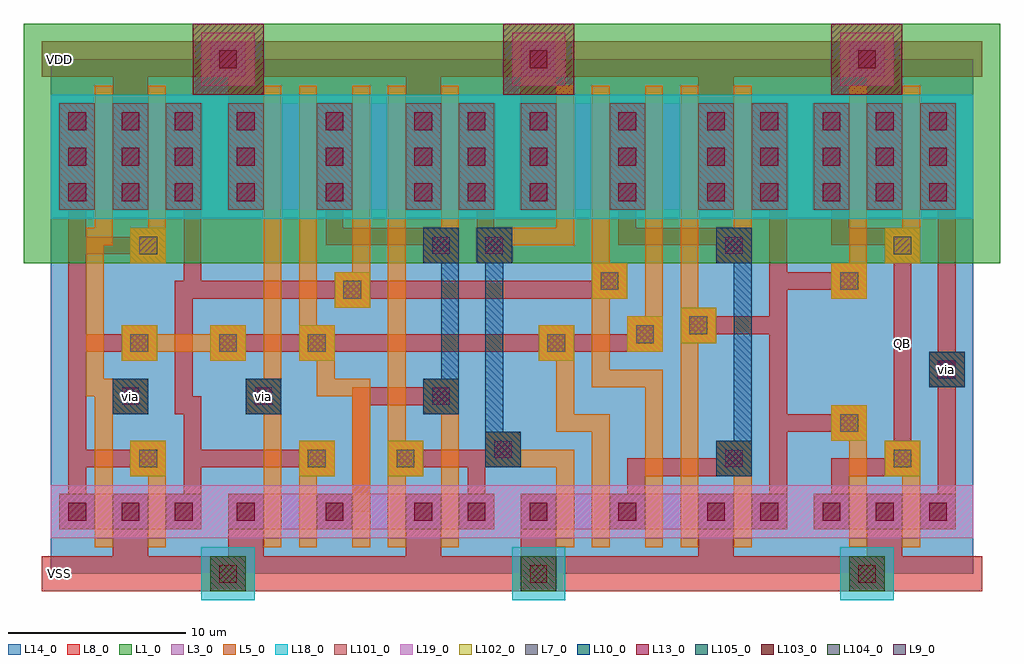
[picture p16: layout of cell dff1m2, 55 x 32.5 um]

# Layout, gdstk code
import gdstk
lib = gdstk.Library(unit=1e-6, precision=1e-09)
def R(c, l, rs):  # rectangles x0, y0, x1, y1
    for r in rs: c.add(gdstk.rectangle(r[:2], r[2:], *l))
L1_0 = (1, 0)
L3_0 = (3, 0)
L5_0 = (5, 0)
L7_0 = (7, 0)
L8_0 = (8, 0)
L9_0 = (9, 0)
L10_0 = (10, 0)
L13_0 = (13, 0)
L14_0 = (14, 0)
L18_0 = (18, 0)
L19_0 = (19, 0)
L101_0 = (101, 0)
L102_0 = (102, 0)
L103_0 = (103, 0)
L104_0 = (104, 0)
L105_0 = (105, 0)

pcont = lib.new_cell('pcont')
R(pcont, L5_0, [(-1,-1,1,1)])
R(pcont, L7_0, [(-0.5,-0.5,0.5,0.5)])
R(pcont, L8_0, [(-1,-1,1,1)])
R(pcont, L102_0, [(-1,-1,1,1)])
pcont.add(gdstk.Label('pcont', (0,0), layer=13, texttype=0))

dcont = lib.new_cell('dcont')
R(dcont, L3_0, [(-1,-1,1,1)])
R(dcont, L7_0, [(-0.5,-0.5,0.5,0.5)])
R(dcont, L8_0, [(-1,-1,1,1)])
R(dcont, L13_0, [(-0.5,-0.5,0.5,0.5)])
R(dcont, L101_0, [(-1,-1,1,1)])
dcont.add(gdstk.Label('dcont', (0,0), layer=13, texttype=0))

via = lib.new_cell('Via')
R(via, L8_0, [(-1,-1,1,1)])
R(via, L9_0, [(-0.5,-0.5,0.5,0.5)])
R(via, L10_0, [(-1,-1,1,1)])
R(via, L13_0, [(-0.5,-0.5,0.5,0.5)])
R(via, L105_0, [(-1,-1,1,1)])
via.add(gdstk.Label('via', (0,0), layer=13, texttype=0))

nsubcont = lib.new_cell('nsubcont')
R(nsubcont, L1_0, [(-2,-2,2,2)])
R(nsubcont, L19_0, [(-1.5,-1.5,1.5,1.5)])
R(nsubcont, L103_0, [(-2,-2,2,2)])
nsubcont.add(gdstk.Reference(dcont, (0,0)))
nsubcont.add(gdstk.Label('NScont', (0,0), layer=13, texttype=0))

psubcont = lib.new_cell('psubcont')
R(psubcont, L18_0, [(-1.5,-1.5,1.5,1.5)])
R(psubcont, L104_0, [(-1,-1,1,1)])
psubcont.add(gdstk.Reference(dcont, (0,0)))
psubcont.add(gdstk.Label('PScon', (0,0), layer=13, texttype=0))

dff1m2 = lib.new_cell('dff1m2')
R(dff1m2, L1_0, [(-1.5,17.5,53.5,31)])
R(dff1m2, L3_0, [(0.5,2.5,8.5,4.5), (10,2.5,25,4.5), (26.5,2.5,41.5,4.5), (43,2.5,51,4.5), (0.5,20.5,8.5,26.5), (10,20.5,25,26.5), (26.5,20.5,41.5,26.5), (43,20.5,51,26.5)])
R(dff1m2, L8_0, [(-0.5,-1,52.5,1), (3.5,9,5.5,11), (11,9,13,11), (49.5,10.5,51.5,12.5), (-0.5,28,52.5,30)])
R(dff1m2, L10_0, [(3.5,9,5.5,11), (11,9,13,11), (49.5,10.5,51.5,12.5)])
R(dff1m2, L14_0, [(0,0,52,29)])
R(dff1m2, L18_0, [(0,20,52,27)])
R(dff1m2, L19_0, [(0,2,52,5)])
R(dff1m2, L105_0, [(3.5,9,5.5,11), (11,9,13,11), (49.5,10.5,51.5,12.5)])
dff1m2.add(gdstk.FlexPath([(50.5,3.3),(50.5,26)], 1, ends="extended", simple_path=True, layer=8, datatype=0))  # L8_0
dff1m2.add(gdstk.FlexPath([(50,22.3),(50,25.5)], 1.4, ends="extended", simple_path=True, layer=8, datatype=0))  # L8_0
dff1m2.add(gdstk.FlexPath([(47,22.6),(47,28.5)], 2, ends="extended", simple_path=True, layer=8, datatype=0))  # L8_0
dff1m2.add(gdstk.FlexPath([(47,1),(47,3.4)], 2, ends="extended", simple_path=True, layer=8, datatype=0))  # L8_0
dff1m2.add(gdstk.FlexPath([(44.5,26),(44.5,19),(48,19),(48,6),(44.5,6),(44.5,3.6)], 1, ends="extended", simple_path=True, layer=8, datatype=0))  # L8_0
dff1m2.add(gdstk.FlexPath([(44,22.3),(44,25.5)], 1.4, ends="extended", simple_path=True, layer=8, datatype=0))  # L8_0
dff1m2.add(gdstk.FlexPath([(45.3,8.5),(41,8.5)], 1, ends="extended", simple_path=True, layer=8, datatype=0))  # L8_0
dff1m2.add(gdstk.FlexPath([(45.3,16.5),(41,16.5)], 1, ends="extended", simple_path=True, layer=8, datatype=0))  # L8_0
dff1m2.add(gdstk.FlexPath([(41,21.5),(41,3.8)], 1, ends="extended", simple_path=True, layer=8, datatype=0))  # L8_0
dff1m2.add(gdstk.FlexPath([(36.8,14),(41,14)], 1, ends="extended", simple_path=True, layer=8, datatype=0))  # L8_0
dff1m2.add(gdstk.FlexPath([(37.5,1),(37.5,3.5)], 2, ends="extended", simple_path=True, layer=8, datatype=0))  # L8_0
dff1m2.add(gdstk.FlexPath([(37.5,22.6),(37.5,28.5)], 2, ends="extended", simple_path=True, layer=8, datatype=0))  # L8_0
dff1m2.add(gdstk.FlexPath([(33,3.8),(33,6),(38.5,6)], 1, ends="extended", simple_path=True, layer=8, datatype=0))  # L8_0
dff1m2.add(gdstk.FlexPath([(32.5,22.3),(32.5,19),(38.7,19)], 1, ends="extended", simple_path=True, layer=8, datatype=0))  # L8_0
dff1m2.add(gdstk.FlexPath([(32.5,22.3),(32.5,25.5)], 1.4, ends="extended", simple_path=True, layer=8, datatype=0))  # L8_0
dff1m2.add(gdstk.FlexPath([(27.5,1),(27.5,3.5)], 2, ends="extended", simple_path=True, layer=8, datatype=0))  # L8_0
dff1m2.add(gdstk.FlexPath([(27.5,22),(27.5,28.5)], 2, ends="extended", simple_path=True, layer=8, datatype=0))  # L8_0
dff1m2.add(gdstk.FlexPath([(24,21.5),(24.5,21.5),(24.5,18.4)], 1, ends="extended", simple_path=True, layer=8, datatype=0))  # L8_0
dff1m2.add(gdstk.FlexPath([(24,22.3),(24,25.5)], 1.4, ends="extended", simple_path=True, layer=8, datatype=0))  # L8_0
dff1m2.add(gdstk.FlexPath([(34,13),(10.3,13)], 1, ends="extended", simple_path=True, layer=8, datatype=0))  # L8_0
dff1m2.add(gdstk.FlexPath([(19.9,6.5),(24,6.5),(24,3.5)], 1, ends="extended", simple_path=True, layer=8, datatype=0))  # L8_0
dff1m2.add(gdstk.FlexPath([(21,1),(21,3.5)], 2, ends="extended", simple_path=True, layer=8, datatype=0))  # L8_0
dff1m2.add(gdstk.FlexPath([(21,22.6),(21,28.5)], 2, ends="extended", simple_path=True, layer=8, datatype=0))  # L8_0
dff1m2.add(gdstk.FlexPath([(8.05,16),(31.8,16)], 1, ends="extended", simple_path=True, layer=8, datatype=0))  # L8_0
dff1m2.add(gdstk.FlexPath([(16,3.5),(16,4),(17.5,4),(17.5,10),(22.4,10)], 1, ends="extended", simple_path=True, layer=8, datatype=0))  # L8_0
dff1m2.add(gdstk.FlexPath([(16,22.3),(16,19),(22,19)], 1, ends="extended", simple_path=True, layer=8, datatype=0))  # L8_0
dff1m2.add(gdstk.FlexPath([(16,22.3),(16,25.5)], 1.4, ends="extended", simple_path=True, layer=8, datatype=0))  # L8_0
dff1m2.add(gdstk.FlexPath([(14.8,6.5),(8,6.5)], 1, ends="extended", simple_path=True, layer=8, datatype=0))  # L8_0
dff1m2.add(gdstk.FlexPath([(11,22.6),(11,28.5)], 2, ends="extended", simple_path=True, layer=8, datatype=0))  # L8_0
dff1m2.add(gdstk.FlexPath([(11,1),(11,3.5)], 2, ends="extended", simple_path=True, layer=8, datatype=0))  # L8_0
dff1m2.add(gdstk.FlexPath([(8,3.6),(8,9.5),(7.5,9.5),(7.5,16),(8,16),(8,26)], 1, ends="extended", simple_path=True, layer=8, datatype=0))  # L8_0
dff1m2.add(gdstk.FlexPath([(4.5,1),(4.5,3.5)], 2, ends="extended", simple_path=True, layer=8, datatype=0))  # L8_0
dff1m2.add(gdstk.FlexPath([(4.5,22.6),(4.5,28.5)], 2, ends="extended", simple_path=True, layer=8, datatype=0))  # L8_0
dff1m2.add(gdstk.FlexPath([(5.9,6.5),(1.8,6.5)], 1, ends="extended", simple_path=True, layer=8, datatype=0))  # L8_0
dff1m2.add(gdstk.FlexPath([(5.6,18.5),(1.5,18.5)], 1, ends="extended", simple_path=True, layer=8, datatype=0))  # L8_0
dff1m2.add(gdstk.FlexPath([(5,13),(1.8,13)], 1, ends="extended", simple_path=True, layer=8, datatype=0))  # L8_0
dff1m2.add(gdstk.FlexPath([(1.5,22.3),(1.5,25.5)], 1.4, ends="extended", simple_path=True, layer=8, datatype=0))  # L8_0
dff1m2.add(gdstk.FlexPath([(1.5,26),(1.5,3.6)], 1, ends="extended", simple_path=True, layer=8, datatype=0))  # L8_0
dff1m2.add(gdstk.FlexPath([(3,27),(3,19),(2.5,19),(2.5,10.5),(3,10.5),(3,2)], 1, ends="extended", simple_path=True, layer=5, datatype=0))  # L5_0
dff1m2.add(gdstk.FlexPath([(6,2),(6,7)], 1, ends="extended", simple_path=True, layer=5, datatype=0))  # L5_0
dff1m2.add(gdstk.FlexPath([(6,18.3),(6,27)], 1, ends="extended", simple_path=True, layer=5, datatype=0))  # L5_0
dff1m2.add(gdstk.FlexPath([(10.3,13),(5,13)], 1, ends="extended", simple_path=True, layer=5, datatype=0))  # L5_0
dff1m2.add(gdstk.FlexPath([(12.5,27),(12.5,2)], 1, ends="extended", simple_path=True, layer=5, datatype=0))  # L5_0
dff1m2.add(gdstk.FlexPath([(14.5,2),(14.5,6.8)], 1, ends="extended", simple_path=True, layer=5, datatype=0))  # L5_0
dff1m2.add(gdstk.FlexPath([(17.5,2),(17.5,10.5),(15.5,10.5),(15.5,13.1),(14.5,13.1),(14.5,27)], 1, ends="extended", simple_path=True, layer=5, datatype=0))  # L5_0
dff1m2.add(gdstk.FlexPath([(17.5,15.8),(17.5,27)], 1, ends="extended", simple_path=True, layer=5, datatype=0))  # L5_0
dff1m2.add(gdstk.FlexPath([(19.5,27),(19.5,2)], 1, ends="extended", simple_path=True, layer=5, datatype=0))  # L5_0
dff1m2.add(gdstk.FlexPath([(22.5,2),(22.5,10)], 1, ends="extended", simple_path=True, layer=5, datatype=0))  # L5_0
dff1m2.add(gdstk.FlexPath([(22.5,18.4),(22.5,27)], 1, ends="extended", simple_path=True, layer=5, datatype=0))  # L5_0
dff1m2.add(gdstk.FlexPath([(25,19),(29,19),(29,27)], 1, ends="extended", simple_path=True, layer=5, datatype=0))  # L5_0
dff1m2.add(gdstk.FlexPath([(29,2),(29,6.5),(25.3,6.5)], 1, ends="extended", simple_path=True, layer=5, datatype=0))  # L5_0
dff1m2.add(gdstk.FlexPath([(31,2),(31,8.5),(29,8.5),(29,13)], 1, ends="extended", simple_path=True, layer=5, datatype=0))  # L5_0
dff1m2.add(gdstk.FlexPath([(34,2),(34,11),(31,11),(31,27)], 1, ends="extended", simple_path=True, layer=5, datatype=0))  # L5_0
dff1m2.add(gdstk.FlexPath([(34,27),(34,13.7)], 1, ends="extended", simple_path=True, layer=5, datatype=0))  # L5_0
dff1m2.add(gdstk.FlexPath([(36,2),(36,27)], 1, ends="extended", simple_path=True, layer=5, datatype=0))  # L5_0
dff1m2.add(gdstk.FlexPath([(39,27),(39,18.4)], 1, ends="extended", simple_path=True, layer=5, datatype=0))  # L5_0
dff1m2.add(gdstk.FlexPath([(39,6.8),(39,2)], 1, ends="extended", simple_path=True, layer=5, datatype=0))  # L5_0
dff1m2.add(gdstk.FlexPath([(45.5,2),(45.5,8.9)], 1, ends="extended", simple_path=True, layer=5, datatype=0))  # L5_0
dff1m2.add(gdstk.FlexPath([(45.5,16.5),(45.5,27)], 1, ends="extended", simple_path=True, layer=5, datatype=0))  # L5_0
dff1m2.add(gdstk.FlexPath([(48.5,2),(48.5,6.7)], 1, ends="extended", simple_path=True, layer=5, datatype=0))  # L5_0
dff1m2.add(gdstk.FlexPath([(48.5,18.1),(48.5,27)], 1, ends="extended", simple_path=True, layer=5, datatype=0))  # L5_0
dff1m2.add(gdstk.FlexPath([(22.5,18.7),(22.5,10)], 1, ends="extended", simple_path=True, layer=10, datatype=0))  # L10_0
dff1m2.add(gdstk.FlexPath([(25,18.7),(25,6.8)], 1, ends="extended", simple_path=True, layer=10, datatype=0))  # L10_0
dff1m2.add(gdstk.FlexPath([(39,18.7),(39,6.5)], 1, ends="extended", simple_path=True, layer=10, datatype=0))  # L10_0
dff1m2.add(gdstk.Reference(pcont, (28.5,13)))
dff1m2.add(gdstk.Reference(dcont, (1.5,25.5)))
dff1m2.add(gdstk.Reference(dcont, (27.5,21.5)))
dff1m2.add(gdstk.Reference(dcont, (27.5,23.5)))
dff1m2.add(gdstk.Reference(dcont, (11,23.5)))
dff1m2.add(gdstk.Reference(dcont, (44,25.5)))
dff1m2.add(gdstk.Reference(pcont, (25,18.5)))
dff1m2.add(gdstk.Reference(dcont, (21,3.5)))
dff1m2.add(gdstk.Reference(dcont, (37.5,21.5)))
dff1m2.add(gdstk.Reference(dcont, (1.5,21.5)))
dff1m2.add(gdstk.Reference(via, (38.5,18.5)))
dff1m2.add(gdstk.Reference(dcont, (32.5,21.5)))
dff1m2.add(gdstk.Reference(nsubcont, (10,29)))
dff1m2.add(gdstk.Reference(dcont, (24,21.5)))
dff1m2.add(gdstk.Reference(pcont, (22,10)))
dff1m2.add(gdstk.Reference(via, (25.5,7)))
dff1m2.add(gdstk.Reference(pcont, (48,6.5)))
dff1m2.add(gdstk.Reference(pcont, (15,13)))
dff1m2.add(gdstk.Reference(via, (25,18.5)))
dff1m2.add(gdstk.Reference(via, (4.5,10)))
dff1m2.add(gdstk.Reference(pcont, (38.5,18.5)))
dff1m2.add(gdstk.Reference(pcont, (33.5,13.5)))
dff1m2.add(gdstk.Reference(dcont, (11,25.5)))
dff1m2.add(gdstk.Reference(psubcont, (27.5,0)))
dff1m2.add(gdstk.Reference(pcont, (48,18.5)))
dff1m2.add(gdstk.Reference(via, (12,10)))
dff1m2.add(gdstk.Reference(dcont, (37.5,25.5)))
dff1m2.add(gdstk.Reference(pcont, (36.5,14)))
dff1m2.add(gdstk.Reference(dcont, (32.5,23.5)))
dff1m2.add(gdstk.Reference(dcont, (4.5,21.5)))
dff1m2.add(gdstk.Reference(dcont, (21,23.5)))
dff1m2.add(gdstk.Reference(nsubcont, (27.5,29)))
dff1m2.add(gdstk.Reference(dcont, (24,23.5)))
dff1m2.add(gdstk.Reference(dcont, (44,3.5)))
dff1m2.add(gdstk.Reference(nsubcont, (46,29)))
dff1m2.add(gdstk.Reference(dcont, (4.5,23.5)))
dff1m2.add(gdstk.Reference(dcont, (21,21.5)))
dff1m2.add(gdstk.Reference(dcont, (11,3.5)))
dff1m2.add(gdstk.Reference(dcont, (47,25.5)))
dff1m2.add(gdstk.Reference(dcont, (27.5,25.5)))
dff1m2.add(gdstk.Reference(dcont, (50,25.5)))
dff1m2.add(gdstk.Reference(via, (22,10)))
dff1m2.add(gdstk.Reference(via, (38.5,6.5)))
dff1m2.add(gdstk.Reference(dcont, (7.5,21.5)))
dff1m2.add(gdstk.Reference(psubcont, (10,0)))
dff1m2.add(gdstk.Reference(dcont, (44,23.5)))
dff1m2.add(gdstk.Reference(dcont, (40.5,3.5)))
dff1m2.add(gdstk.Reference(pcont, (22,18.5)))
dff1m2.add(gdstk.Reference(dcont, (7.5,25.5)))
dff1m2.add(gdstk.Reference(pcont, (17,16)))
dff1m2.add(gdstk.Reference(pcont, (4.5,10)))
dff1m2.add(gdstk.Reference(pcont, (31.5,16.5)))
dff1m2.add(gdstk.Reference(pcont, (5,13)))
dff1m2.add(gdstk.Reference(pcont, (38.5,6.5)))
dff1m2.add(gdstk.Reference(dcont, (11,21.5)))
dff1m2.add(gdstk.Reference(pcont, (5.5,6.5)))
dff1m2.add(gdstk.Reference(dcont, (40.5,25.5)))
dff1m2.add(gdstk.Reference(dcont, (16,25.5)))
dff1m2.add(gdstk.Reference(dcont, (4.5,25.5)))
dff1m2.add(gdstk.Reference(via, (50.5,11.5)))
dff1m2.add(gdstk.Reference(dcont, (32.5,3.5)))
dff1m2.add(gdstk.Reference(pcont, (20,6.5)))
dff1m2.add(gdstk.Reference(dcont, (50,3.5)))
dff1m2.add(gdstk.Reference(dcont, (32.5,25.5)))
dff1m2.add(gdstk.Reference(dcont, (47,3.5)))
dff1m2.add(gdstk.Reference(dcont, (50,21.5)))
dff1m2.add(gdstk.Reference(dcont, (27.5,3.5)))
dff1m2.add(gdstk.Reference(dcont, (37.5,23.5)))
dff1m2.add(gdstk.Reference(dcont, (50,23.5)))
dff1m2.add(gdstk.Reference(pcont, (25.5,7)))
dff1m2.add(gdstk.Reference(pcont, (5.5,18.5)))
dff1m2.add(gdstk.Reference(pcont, (15,6.5)))
dff1m2.add(gdstk.Reference(dcont, (7.5,23.5)))
dff1m2.add(gdstk.Reference(psubcont, (46,0)))
dff1m2.add(gdstk.Reference(dcont, (47,23.5)))
dff1m2.add(gdstk.Reference(via, (22,18.5)))
dff1m2.add(gdstk.Reference(dcont, (16,23.5)))
dff1m2.add(gdstk.Reference(dcont, (44,21.5)))
dff1m2.add(gdstk.Reference(dcont, (4.5,3.5)))
dff1m2.add(gdstk.Reference(pcont, (10,13)))
dff1m2.add(gdstk.Reference(dcont, (1.5,3.5)))
dff1m2.add(gdstk.Reference(dcont, (24,25.5)))
dff1m2.add(gdstk.Reference(pcont, (45,8.5)))
dff1m2.add(gdstk.Reference(dcont, (7.5,3.5)))
dff1m2.add(gdstk.Reference(dcont, (16,3.5)))
dff1m2.add(gdstk.Reference(dcont, (16,21.5)))
dff1m2.add(gdstk.Reference(dcont, (37.5,3.5)))
dff1m2.add(gdstk.Reference(dcont, (47,21.5)))
dff1m2.add(gdstk.Reference(dcont, (40.5,23.5)))
dff1m2.add(gdstk.Reference(dcont, (1.5,23.5)))
dff1m2.add(gdstk.Reference(pcont, (12,10)))
dff1m2.add(gdstk.Reference(dcont, (21,25.5)))
dff1m2.add(gdstk.Reference(dcont, (24,3.5)))
dff1m2.add(gdstk.Reference(dcont, (40.5,21.5)))
dff1m2.add(gdstk.Reference(pcont, (45,16.5)))
dff1m2.add(gdstk.Label('QB', (48,13), layer=8, texttype=0))
dff1m2.add(gdstk.Label('VDD', (0.5,29), layer=8, texttype=0))
dff1m2.add(gdstk.Label('VSS', (0.5,0), layer=8, texttype=0))
dff1m2.add(gdstk.Label('QB', (48,13), layer=8, texttype=0))
dff1m2.add(gdstk.Label('via', (4.5,10), layer=13, texttype=0))
dff1m2.add(gdstk.Label('via', (12,10), layer=13, texttype=0))
dff1m2.add(gdstk.Label('via', (50.5,11.5), layer=13, texttype=0))
dff1m2.add(gdstk.Label('CK', (4.5,10), layer=10, texttype=0))
dff1m2.add(gdstk.Label('D', (12,10), layer=10, texttype=0))
dff1m2.add(gdstk.Label('Q', (50.5,11.5), layer=10, texttype=0))

lib.write_gds('dff1m2.gds')
